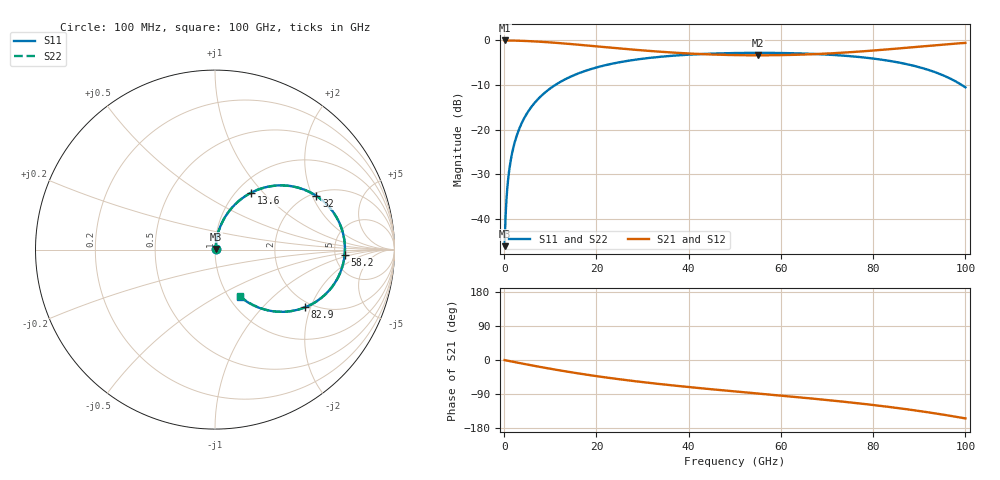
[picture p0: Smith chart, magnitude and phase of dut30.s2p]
! Touchstone file exported from HFSS 2026.1.0
!  File:  C:/ffzhzh/LocalFiles/Ansys_Project_Files/temp_train_RDL_30_1783497990_55944.aedt
!  Generated:  04:07:46 PM Jul  8, 2026
!  Design:  RDL
!  Project:  temp_train_RDL_30_1783497990_55944
! Variables:
!  h_bsmrdl = 2um
!  h_ox = 20um
!  h_rdl = 5um
!  h_sub = 80um
!  h_tmrdl = 4.77um
!  h_tsv = 80um
!  h_via = 3um
!  l_bsmrdl = 300um
!  l_sub = 940.59um
!  l_tmrdl = 540.59um
!  m_sub = 200um
!  pitch = 53.71um
!  r_tsv = 6um
!  s_tmrdl = 10um
!  w_bsmrdl = 18um
!  w_sub = 500um
!  w_tmrdl = 10.83um
!  x_tsv_center1 = 546.005um
!  x_tsv_center2 = 864.005um
!  x_tsv_center3 = 1415.425um
!  x_tsv_center4 = 1733.425um
!  x_tsv_center5 = 2284.845um
!  x_tsv_center6 = 2602.845um
# GHz S MA R 50.000000
! Terminal data exported
! Port[1] = TM_RDL1_1_T1
! Port[2] = TM_RDL1_1_T2
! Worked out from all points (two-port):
!   1000 points, 100 MHz to 100 GHz, reference 50 ohm
!   highest |S21| = -0.03 dB at 100 MHz (marker M1); lowest = -3.4 dB at 55.1 GHz (marker M2)
!   |S21| within 3 dB of the highest: start of sweep to 41.62 GHz; 68.7 GHz to end of sweep
!   lowest |S11| = -46.1 dB at 100 MHz (marker M3), VSWR 1.01, Z = 50.4 + j0.325 ohm
!   |S11| at or under -10 dB: start of sweep to 11.09 GHz; 99.2 GHz to end of sweep
!   |S22| runs from -46.1 to -2.8 dB; largest |S21 - S12| = 3.8e-14
!   S11 on the Smith chart (normalised r, x): 100 MHz: 1.01, +0.01; 13.6 GHz: 1.16, +0.85; 32 GHz: 2.12, +2.15; 58.2 GHz: 6.11, -0.78; 82.9 GHz: 1.83, -1.83; 100 GHz: 1.13, -0.65
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0.1  0.00494 40.7  0.9963 -0.2  0.9963 -0.2  0.00494 40.7
! Gamma 0 0 0 0
! Port Impedance 50 0 50 0
0.8  0.02574 78.8  0.9955 -2.0  0.9955 -2.0  0.02574 78.8
1.3  0.04126 80.8  0.9948 -3.2  0.9948 -3.2  0.04126 80.8
2.2  0.06914 80.7  0.9928 -5.3  0.9928 -5.3  0.06914 80.7
3.4  0.1058 78.8  0.9888 -8.2  0.9888 -8.2  0.1058 78.8
5.1  0.1562 75.3  0.9809 -12.2  0.9809 -12.2  0.1562 75.3
7.4  0.2211 70.4  0.9668 -17.4  0.9668 -17.4  0.2211 70.4
13.6  0.3741 57.7  0.9162 -30.6  0.9162 -30.6  0.3741 57.7
16.8  0.4396 51.7  0.8863 -36.8  0.8863 -36.8  0.4396 51.7
23.7  0.5508 40.0  0.8222 -48.8  0.8222 -48.8  0.5508 39.9
32  0.6392 27.9  0.7568 -61.1  0.7568 -61.1  0.6392 27.8
33.4  0.6502 26.1  0.7476 -63.0  0.7476 -63.0  0.6502 26.0
41.5  0.6967 16.1  0.7058 -73.1  0.7058 -73.1  0.6967 16.0
50.1  0.7203 6.4  0.6827 -83.0  0.6827 -83.0  0.7203 6.3
55.1  0.724 1.0  0.679 -88.6  0.679 -88.6  0.724 0.8
58.2  0.7228 -2.4  0.6804 -92.0  0.6804 -92.0  0.7228 -2.5
66.7  0.7053 -11.9  0.6981 -101.7  0.6981 -101.7  0.7053 -12.0
75  0.6643 -21.9  0.7357 -111.9  0.7357 -111.9  0.6642 -22.0
82.9  0.5955 -32.7  0.7898 -123.0  0.7898 -123.0  0.5954 -32.8
83.4  0.5899 -33.5  0.7938 -123.8  0.7938 -123.8  0.5899 -33.5
92.7  0.4531 -48.6  0.8749 -139.5  0.8749 -139.5  0.4531 -48.5
100  0.2971 -62.0  0.9351 -154.1  0.9351 -154.1  0.2972 -61.5
